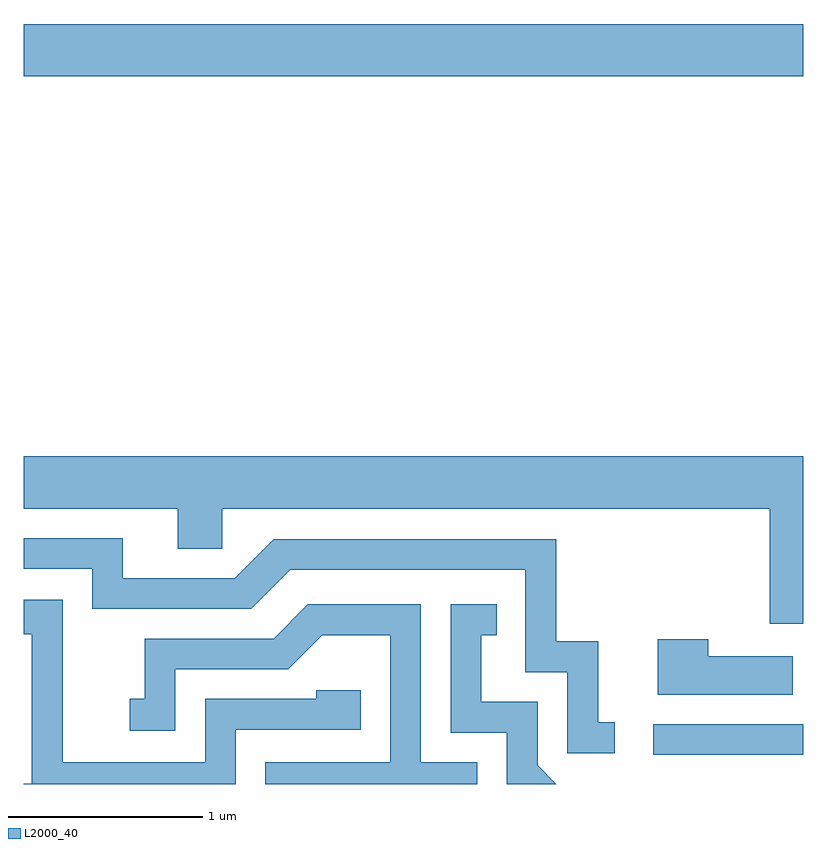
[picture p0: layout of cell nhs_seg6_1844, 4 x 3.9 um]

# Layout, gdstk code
import gdstk
lib = gdstk.Library(unit=1e-6, precision=1e-09)
def R(c, l, rs):  # rectangles x0, y0, x1, y1
    for r in rs: c.add(gdstk.rectangle(r[:2], r[2:], *l))
def P(c, l, *ps):  # polygons
    for p in ps: c.add(gdstk.Polygon(p, *l))
L2000_40 = (2000, 40)

nhs_seg6_1844 = lib.new_cell('nhs_seg6_1844')
R(nhs_seg6_1844, L2000_40, [(244.843,1564.311,245.611,1564.469), (241.611,1567.796,245.611,1568.064)])
P(nhs_seg6_1844, L2000_40, [(245.611,1565.844),(241.611,1565.844),(241.611,1565.576),(242.401,1565.576),(242.401,1565.371),(242.629,1565.371),(242.629,1565.576),(245.441,1565.576),(245.441,1564.986),(245.611,1564.986)],
  [(244.643,1564.479),(244.559,1564.479),(244.559,1564.894),(244.344,1564.894),(244.344,1565.419),(242.894,1565.419),(242.694,1565.219),(242.119,1565.219),(242.119,1565.424),(241.611,1565.424),(241.611,1565.266),(241.961,1565.266),(241.961,1565.061),(242.777,1565.061),(242.977,1565.261),(244.186,1565.261),(244.186,1564.736),(244.401,1564.736),(244.401,1564.321),(244.643,1564.321)],
  [(242.699,1564.441),(243.339,1564.441),(243.339,1564.644),(243.111,1564.644),(243.111,1564.599),(242.541,1564.599),(242.541,1564.274),(241.809,1564.274),(241.809,1565.109),(241.611,1565.109),(241.611,1564.931),(241.651,1564.931),(241.651,1564.164),(241.611,1564.164),(241.611,1564.162),(242.699,1564.162)],
  [(244.249,1564.257),(244.249,1564.584),(243.959,1564.584),(243.959,1564.926),(244.038,1564.926),(244.038,1565.084),(243.801,1565.084),(243.801,1564.426),(244.091,1564.426),(244.091,1564.162),(244.344,1564.162)],
  [(243.939,1564.274),(243.649,1564.274),(243.649,1565.084),(243.069,1565.084),(242.894,1564.909),(242.231,1564.909),(242.231,1564.599),(242.153,1564.599),(242.153,1564.436),(242.389,1564.436),(242.389,1564.751),(242.967,1564.751),(243.142,1564.926),(243.491,1564.926),(243.491,1564.274),(242.851,1564.274),(242.851,1564.162),(243.939,1564.162)],
  [(245.559,1564.819),(245.124,1564.819),(245.124,1564.904),(244.866,1564.904),(244.866,1564.621),(245.559,1564.621)])

lib.write_gds('nhs_seg6_1844.gds')
